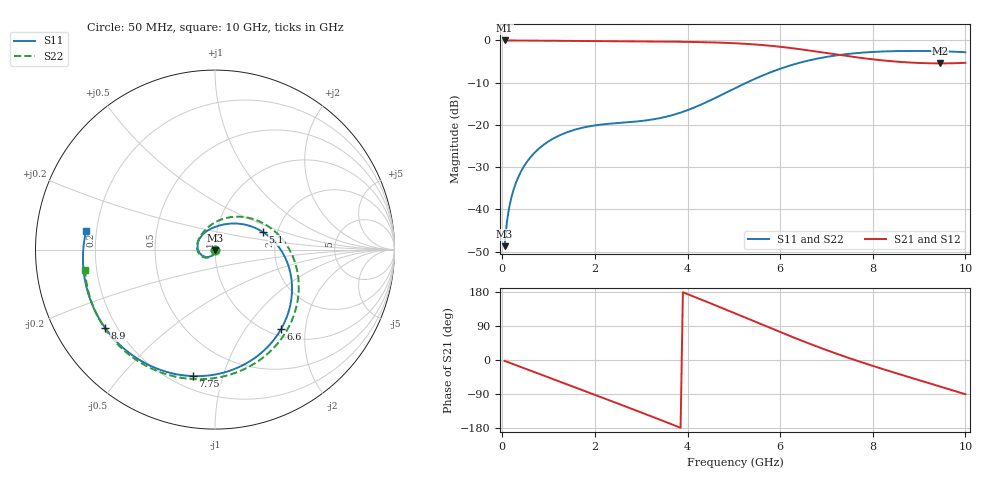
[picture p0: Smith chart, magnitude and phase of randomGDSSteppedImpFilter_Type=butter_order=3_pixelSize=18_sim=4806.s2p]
! freq	dB(S11)	phase(S11)	dB(S12)	phase(S12)
!  dB(S21)	phase(S21)	dB(S22)	phase(S22)
!S-par simulation data
#  GHz  S  DB  R 50
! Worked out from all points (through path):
!   200 points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, 50 MHz to 10 GHz, reference 50 ohm
!   highest |S21| = 0.00 dB at 50 MHz (marker M1); lowest = -5.4 dB at 9.45 GHz (marker M2)
!   group delay of S21, straight-line fit = 129 ps
!   lowest |S11| = -48.7 dB at 50 MHz (marker M3), VSWR 1.01, Z = 50 - j0.366 ohm
!   |S11| at or under -10 dB: start of sweep to 5.275 GHz
!   |S22| runs from -48.7 to -2.4 dB; largest |S21 - S12| = 0
!   S11 on the Smith chart (normalised r, x): 50 MHz: 1.00, -0.01; 5.1 GHz: 1.68, +0.36; 6.6 GHz: 1.12, -1.49; 7.75 GHz: 0.28, -0.80; 8.9 GHz: 0.16, -0.31; 10 GHz: 0.16, +0.07
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0.05  -48.73 -89.7  -0.00 -2.3  -0.00 -2.3  -48.73 -89.0
0.1  -42.92 -93.0  -0.01 -4.7  -0.01 -4.7  -42.92 -92.4
0.2  -37.03 -99.0  -0.02 -9.3  -0.02 -9.3  -37.02 -98.1
0.5  -29.27 -114.9  -0.04 -23.1  -0.04 -23.1  -29.28 -112.4
1.15  -22.95 -147.2  -0.08 -52.9  -0.08 -52.9  -22.95 -141.1
1.75  -20.63 -177.3  -0.13 -80.4  -0.13 -80.4  -20.66 -167.0
2.55  -19.51 141.7  -0.18 -117.4  -0.18 -117.4  -19.58 159.1
3.4  -18.41 98.5  -0.26 -157.3  -0.26 -157.3  -18.54 121.9
3.8  -17.27 79.2  -0.31 -176.4  -0.31 -176.4  -17.41 102.9
4.2  -15.63 60.8  -0.38 164.2  -0.38 164.2  -15.75 82.8
4.6  -13.62 42.8  -0.49 144.4  -0.49 144.4  -13.70 61.9
5.05  -11.18 22.4  -0.68 121.9  -0.68 121.9  -11.24 38.0
5.1  -10.92 20.1  -0.71 119.3  -0.71 119.3  -10.97 35.4
5.8  -7.52 -12.9  -1.27 83.9  -1.27 83.9  -7.53 -1.4
6.6  -4.79 -50.3  -2.34 44.6  -2.34 44.6  -4.78 -41.1
6.7  -4.54 -54.9  -2.50 39.9  -2.50 39.9  -4.53 -45.8
7.25  -3.48 -79.1  -3.38 15.2  -3.38 15.2  -3.47 -70.4
7.75  -2.91 -99.9  -4.14 -5.6  -4.14 -5.6  -2.89 -90.9
8.35  -2.57 -123.5  -4.87 -29.0  -4.87 -29.0  -2.53 -113.5
8.9  -2.48 -144.6  -5.29 -49.5  -5.29 -49.5  -2.42 -133.0
9.45  -2.56 -165.9  -5.44 -69.7  -5.44 -69.7  -2.49 -152.0
10  -2.79 171.6  -5.31 -90.4  -5.31 -90.4  -2.70 -171.2
